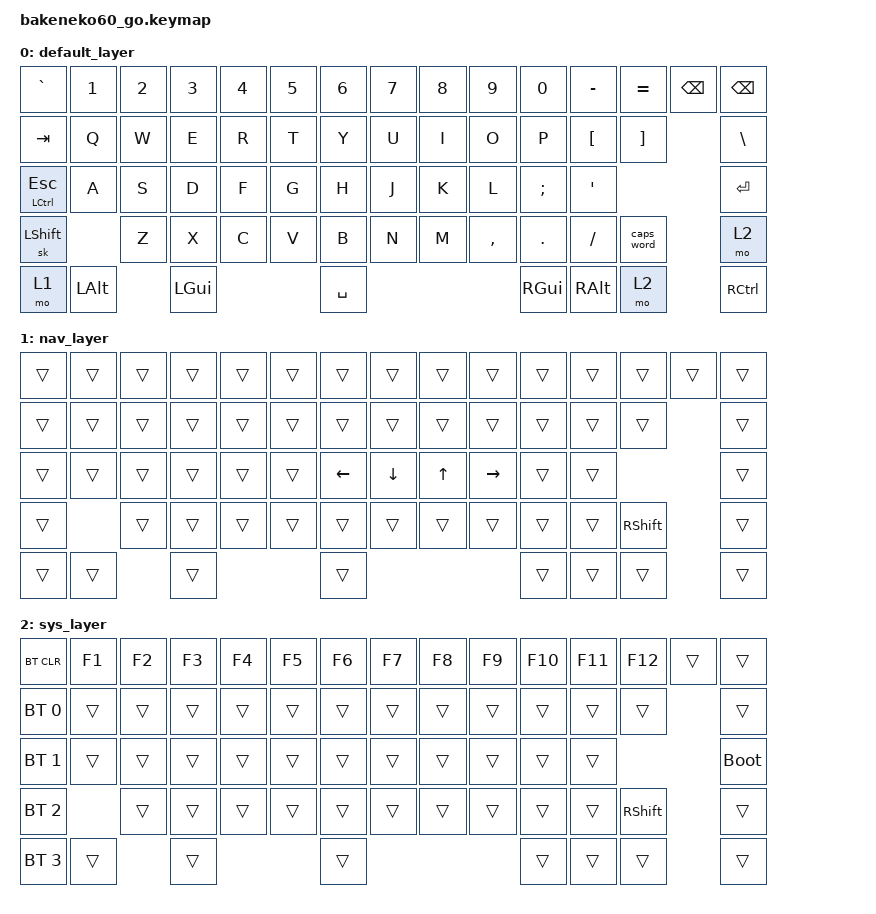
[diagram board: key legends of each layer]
/*
 * Copyright (c) 2023 Andrew Kannan
 *
 * SPDX-License-Identifier: MIT
 */

#include <behaviors.dtsi>
#include <dt-bindings/zmk/bt.h>
#include <dt-bindings/zmk/keys.h>

/ {
    keymap {
        compatible = "zmk,keymap";

        default_layer {
            // ------------------------------------------------------------------------------------------
            // | ESC |  1  |  2  |  3  |  4  |  5  |  6  |  7  |  8  |  9  |  0  |  -  |  =  | BKSP|BKSP|
            // | TAB  |  Q  |  W  |  E  |  R  |  T  |  Y  |  U  |  I  |  O  |  P  |  [  |  ]  |   "|"   |
            // | CAPS  |  A  |  S  |  D  |  F  |  G  |  H  |  J  |  K  |  L  |  ;  |  '  |     ENTER    |
            // |  SHIFT  |  Z  |  X  |  C  |  V  |  B  |  N  |  M  |  ,  |  .  |  /  |  SHIFT  | MO(1)  |
            // |  CTL  |  WIN  |  ALT  |            SPACE              |  ALT  |  WIN  |  MO(1) |  CTL  |
            // ------------------------------------------------------------------------------------------

            bindings = <
&kp GRAVE         &kp N1    &kp N2  &kp N3    &kp N4  &kp N5  &kp N6     &kp N7  &kp N8  &kp N9     &kp N0    &kp MINUS  &kp EQUAL   &kp BSPC  &kp BSPC
&kp TAB           &kp Q     &kp W   &kp E     &kp R   &kp T   &kp Y      &kp U   &kp I   &kp O      &kp P     &kp LBKT   &kp RBKT              &kp BSLH
&mt LCTRL ESCAPE  &kp A     &kp S   &kp D     &kp F   &kp G   &kp H      &kp J   &kp K   &kp L      &kp SEMI  &kp SQT                          &kp RET
&sk LSHFT                   &kp Z   &kp X     &kp C   &kp V   &kp B      &kp N   &kp M   &kp COMMA  &kp DOT   &kp FSLH   &caps_word            &mo 2
&mo 1             &kp LALT          &kp LGUI                  &kp SPACE                             &kp RGUI  &kp RALT   &mo 2                 &kp RCTRL
            >;
        };

        nav_layer {
            bindings = <
&trans  &trans  &trans  &trans  &trans  &trans  &trans    &trans    &trans        &trans     &trans  &trans  &trans           &trans  &trans
&trans  &trans  &trans  &trans  &trans  &trans  &trans    &trans    &trans        &trans     &trans  &trans  &trans                   &trans
&trans  &trans  &trans  &trans  &trans  &trans  &kp LEFT  &kp DOWN  &kp UP_ARROW  &kp RIGHT  &trans  &trans                           &trans
&trans          &trans  &trans  &trans  &trans  &trans    &trans    &trans        &trans     &trans  &trans  &kp RIGHT_SHIFT          &trans
&trans  &trans          &trans                  &trans                                       &trans  &trans  &trans                   &trans
            >;
        };

        sys_layer {
            // ------------------------------------------------------------------------------------------------
            // | BT CLR |     |     |     |     |     |     |     |     |     |     |    |    |       |       |
            // |  BT 1   |   |     |   |       |       |       |       |   |     |    |     |     |           |
            // |   BT 2   |    |      |    |       |       |       |       |      |      |      |  |   Reset  |
            // |    BT 3     |     |      |      |     |     |     |     |     |     |     |         |        |
            // |   BT 4  |      |      |                                    |         |       |       |       |
            // ------------------------------------------------------------------------------------------------

            bindings = <
&bt BT_CLR    &kp F1  &kp F2  &kp F3  &kp F4  &kp F5  &kp F6  &kp F7  &kp F8  &kp F9  &kp F10  &kp F11  &kp F12          &trans  &trans
&bt BT_SEL 0  &trans  &trans  &trans  &trans  &trans  &trans  &trans  &trans  &trans  &trans   &trans   &trans                   &trans
&bt BT_SEL 1  &trans  &trans  &trans  &trans  &trans  &trans  &trans  &trans  &trans  &trans   &trans                            &bootloader
&bt BT_SEL 2          &trans  &trans  &trans  &trans  &trans  &trans  &trans  &trans  &trans   &trans   &kp RIGHT_SHIFT          &trans
&bt BT_SEL 3  &trans          &trans                  &trans                          &trans   &trans   &trans                   &trans
            >;
        };
    };

    combos {
        compatible = "zmk,combos";

        combo_enter {
            bindings = <&kp ENTER>;
            key-positions = <32 33>;
        };

        combo_escape {
            bindings = <&kp ESCAPE>;
            key-positions = <37 36>;
        };
    };
};
